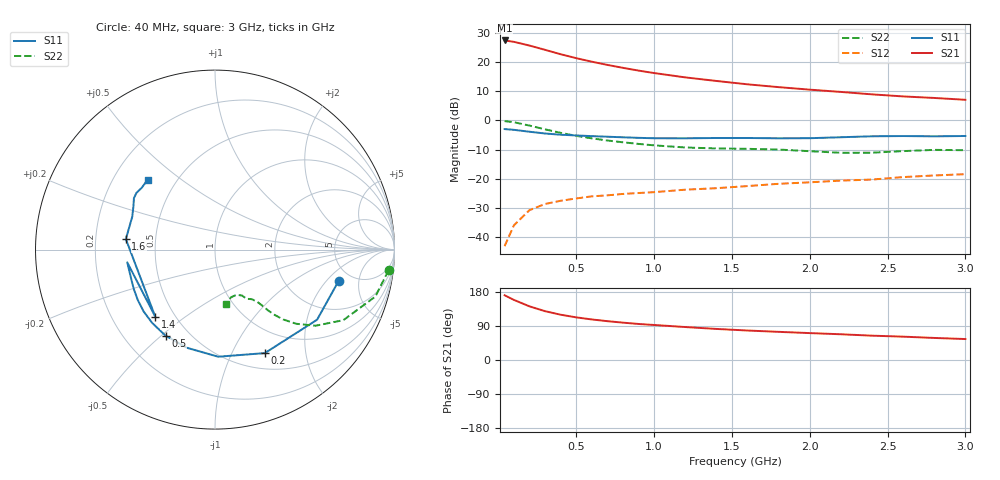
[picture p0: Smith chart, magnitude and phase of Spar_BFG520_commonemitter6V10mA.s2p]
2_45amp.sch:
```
<Qucs Schematic 0.0.20>
<Properties>
  <View=10,85,1177,754,1.26158,0,0>
  <Grid=10,10,1>
  <DataSet=2_45amp.dat>
  <DataDisplay=2_45amp.dpl>
  <OpenDisplay=1>
  <Script=2_45amp.m>
  <RunScript=0>
  <showFrame=0>
  <FrameText0=Title>
  <FrameText1=Drawn By:>
  <FrameText2=Date:>
  <FrameText3=Revision:>
</Properties>
<Symbol>
</Symbol>
<Components>
  <GND * 5 370 330 0 0 0 0>
  <GND * 5 670 360 0 0 0 0>
  <GND * 5 90 360 0 0 0 0>
  <Pac P1 1 90 340 18 -26 0 1 "1" 1 "50 Ohm" 1 "0 dBm" 0 "1 GHz" 0 "26.85" 0>
  <Pac P2 1 670 330 18 -26 0 1 "2" 1 "50 Ohm" 1 "0 dBm" 0 "1 GHz" 0 "26.85" 0>
  <SPfile X1 1 370 300 -26 -41 0 0 "/home/lasse/Documents/test M4/Spar_BFG520_commonemitter6V10mA.s2p" 0 "rectangular" 0 "linear" 0 "open" 0 "2" 0>
  <Eqn Load_Stub_Length 1 890 190 -31 19 0 0 "load_stub=1000*0.145732*3E8/2.4E9" 1 "yes" 0>
  <Eqn Load_Series_Length 1 890 300 -31 19 0 0 "load_series=1000*0.258049*3E+8/2.4E+9" 1 "yes" 0>
  <Eqn Source_Stub_length 1 900 420 -31 19 0 0 "source_stub=100*0.174063*3E8/2.4E9" 1 "yes" 0>
  <Eqn Serial_source_line 1 910 530 -31 19 0 0 "serial_source=1000*0.027160*3E8/2.4E9" 1 "yes" 0>
  <TLIN LoadStub 1 620 200 -26 20 0 0 "50 Ohm" 1 "18.216 mm" 1 "0 dB" 0 "26.85" 0>
  <TLIN LoadSeries 1 510 300 -26 20 0 0 "50 Ohm" 1 "32.256 mm" 1 "0 dB" 0 "26.85" 0>
  <TLIN SourceStub 1 160 202 -26 -77 0 2 "50 Ohm" 1 "2.1758 mm" 1 "0 dB" 0 "26.85" 0>
  <TLIN SourceSeries 1 250 300 -26 20 0 0 "50 Ohm" 1 "3.3950 mm" 1 "0 dB" 0 "26.85" 0>
  <.SP SP1 1 60 460 0 79 0 0 "lin" 1 "0.3 GHz" 1 "3 GHz" 1 "2701" 1 "no" 0 "1" 0 "2" 0 "no" 0 "no" 0>
  <Eqn Sparam1 1 280 480 -30 16 0 0 "S12dB=dB(S[1,2])" 1 "S12=(S[1,2])" 1 "S11dB=dB(S[1,1])" 1 "S11=(S[1,1])" 1 "S21dB=dB(S[2,1])" 1 "S21=(S[2,1])" 1 "S22dB=dB(S[2,2])" 1 "S22=(S[2,2])" 1 "yes" 0>
  <Eqn Eqn1 1 480 590 -31 19 0 0 "GT=(abs(S[2,1])/abs(S[1,2]))*(Rollet(S)-sqrt(Rollet(S)^2-1)" 1 "yes" 0>
  <Eqn Eqn2 1 650 500 -31 19 0 0 "y=1" 1 "yes" 0>
</Components>
<Wires>
  <400 300 480 300 "" 0 0 0 "">
  <190 200 190 202 "" 0 0 0 "">
  <280 300 340 300 "" 0 0 0 "">
  <190 300 220 300 "" 0 0 0 "">
  <540 300 590 300 "" 0 0 0 "">
  <590 200 590 300 "" 0 0 0 "">
  <190 202 190 300 "" 0 0 0 "">
  <90 360 90 370 "" 0 0 0 "">
  <90 300 90 310 "" 0 0 0 "">
  <90 300 190 300 "" 0 0 0 "">
  <590 300 670 300 "" 0 0 0 "">
</Wires>
<Diagrams>
</Diagrams>
<Paintings>
</Paintings>
```
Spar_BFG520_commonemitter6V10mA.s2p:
! Filename:  BFG520I.S2P  Version:  2.1
! NXP part #: BFG520  Date: Feb 1992
! Bias condition: Vce=6V, Ic=10mA
! IN LINE PINNING: same data as with cross emitter pinning.
#  MHz  S  MA  R  50
! Freq  S11  S21  S12  S22  !GUM [dB]
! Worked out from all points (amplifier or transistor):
!   21 points, 40 MHz to 3 GHz, reference 50 ohm
!   highest |S21| = 27.4 dB at 40 MHz (marker M1)
!   |S21| within 3 dB of that: start of sweep to 285.2 MHz
!   unconditionally stable (mu >= 1): 1.301 GHz to end of sweep
!   at 300 MHz: K = 0.31, MSG = 26.4 dB, |S12| = -28.6 dB
!   at 1 GHz: K = 0.86, MSG = 20.4 dB, |S12| = -24.6 dB
!   at 3 GHz: K = 1.24, MAG = 9.8 dB, |S12| = -18.4 dB
!   lowest NFmin = 1.10 dB at 500 MHz
!   S11 on the Smith chart (normalised r, x): 40 MHz: 3.91, -2.74; 200 MHz: 0.69, -1.35; 500 MHz: 0.37, -0.52; 1.4 GHz: 0.39, -0.39; 1.6 GHz: 0.33, +0.05; 3 GHz: 0.35, +0.38
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40  0.711 -14.1  23.47 170.8  0.007 82.3  0.974 -6.8
100  0.69 -34.5  22.22 158.5  0.016 74.0  0.931 -16.3
200  0.64 -64.3  19.18 141.5  0.029 62.4  0.816 -28.8
300  0.597 -88.3  16.21 128.8  0.037 54.2  0.703 -37.1
400  0.569 -106.1  13.63 119.5  0.042 50.9  0.613 -42.4
500  0.553 -119.9  11.67 112.5  0.046 48.6  0.544 -45.7
600  0.538 -130.7  10.15 107.0  0.05 47.2  0.493 -47.6
800  0.514 -146.7  7.968 98.6  0.055 47.9  0.422 -49.5
1400  0.5 -131.8  4.748 82.0  0.069 52.5  0.331 -56.1
1600  0.5 173.3  4.159 77.8  0.075 55.2  0.326 -57.3
3000  0.541 133.9  2.259 55.3  0.12 62.3  0.309 -78.3
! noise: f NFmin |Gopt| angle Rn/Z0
500  1.1  0.33  27  0.25
900  1.25  0.294  48  0.26
1000  1.3  0.298  52  0.27
2000  1.9  0.242  134  0.16
